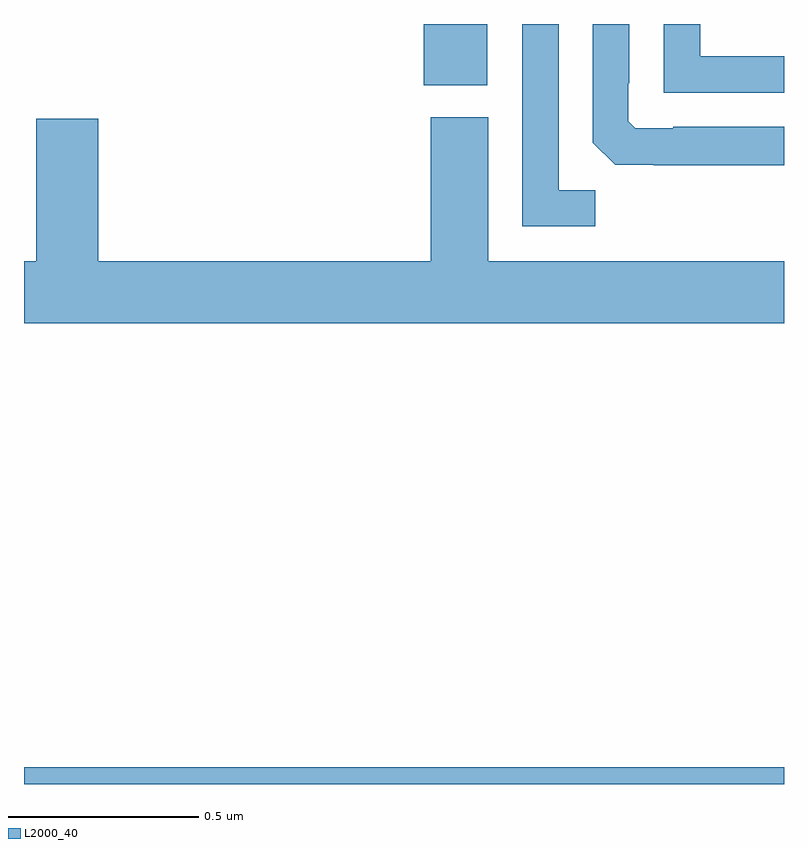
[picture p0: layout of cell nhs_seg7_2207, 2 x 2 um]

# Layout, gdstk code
import gdstk
lib = gdstk.Library(unit=1e-6, precision=1e-09)
def R(c, l, rs):  # rectangles x0, y0, x1, y1
    for r in rs: c.add(gdstk.rectangle(r[:2], r[2:], *l))
def P(c, l, *ps):  # polygons
    for p in ps: c.add(gdstk.Polygon(p, *l))
L2000_40 = (2000, 40)

nhs_seg7_2207 = lib.new_cell('nhs_seg7_2207')
R(nhs_seg7_2207, L2000_40, [(141,1070,143,1070.044), (142.052,1071.839,142.219,1072)])
P(nhs_seg7_2207, L2000_40, [(143,1071.915),(142.779,1071.915),(142.779,1072),(142.683,1072),(142.683,1071.819),(143,1071.819)],
  [(142.503,1071.563),(142.407,1071.563),(142.407,1072),(142.311,1072),(142.311,1071.468),(142.503,1071.468)],
  [(143,1071.729),(142.708,1071.729),(142.708,1071.726),(142.608,1071.726),(142.59,1071.744),(142.59,1071.844),(142.593,1071.844),(142.593,1072),(142.497,1072),(142.497,1071.688),(142.556,1071.629),(142.657,1071.629),(142.657,1071.628),(143,1071.628)],
  [(143,1071.376),(142.222,1071.376),(142.222,1071.754),(142.07,1071.754),(142.07,1071.376),(141.196,1071.376),(141.196,1071.751),(141.032,1071.751),(141.032,1071.376),(141,1071.376),(141,1071.212),(143,1071.212)])

lib.write_gds('nhs_seg7_2207.gds')
